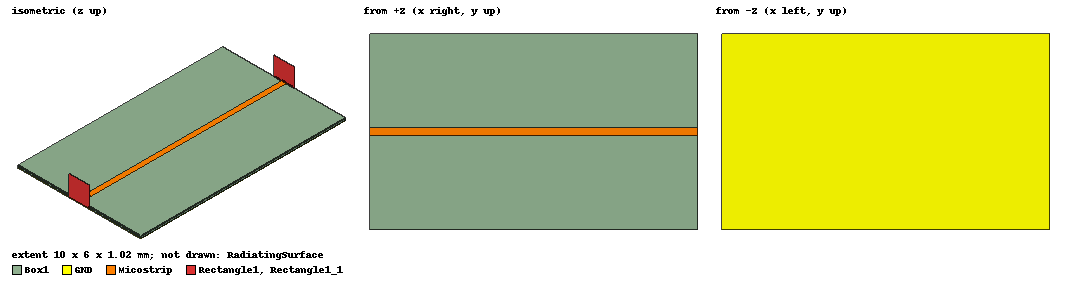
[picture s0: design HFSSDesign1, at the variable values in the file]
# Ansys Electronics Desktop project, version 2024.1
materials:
  vacuum: permittivity=1
  air: permittivity=1.0006 permeability=1.0000004
  Custom_ADM_Material: permittivity=3.3 dielectric_loss_tangent=0.003 delta_H_freq=10GHz
  copper: permeability=0.999991 conductivity=58000000
  pec: conductivity=1e+30

design HFSSDesign1 (HFSS, HFSS Modal Network, model units mm)
options: Allow_Material_Override Calculate_Lossy_Dielectrics
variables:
  track_width = 0.217994mm
  track_length = 10mm
  sub_thick = 100um
  copper_thick = 20um
  port_thick = 1mil
  port_width = 0.1mm
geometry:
  Box1 [Custom_ADM_Material] = box(corner=(-track_length/2, -3mm, 0mm), size=(track_length, 6mm, 0.1mm))
  GND [copper] = object_from(Box1.face(-z))
  Micostrip [copper] = rectangle(corner=(-track_length/2, -track_width/2, 0.1mm), x_size=track_length, y_size=track_width)
  RadiatingSurface [vacuum] = region(absolute_offset: +X=0mm, -X=0mm, +Y=2mm, -Y=2mm, +Z=2mm, -Z=2mm)
  Rectangle1 = rectangle(corner=(track_length/2, -5*port_width, 0), y_size=10*port_width, z_size=10*sub_thick)
  Rectangle1_1 = Rectangle1.duplicate_along_line(step=(-track_length, 0mm, 0mm), total=2)
  [Micostrip, GND].thicken(0.02mm)
  Rectangle2 [non-model] = rectangle(corner=(0mm, 3mm, -0.02mm), y_size=-6mm, z_size=1mm)
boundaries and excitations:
  Open1: Radiation Objects=RadiatingSurface
  1: Wave Port Objects=Rectangle1 WavePortType=Modal NumModes=1 Modes{Mode1{CharImp=Zpi RenormImp=50ohm}}
  2: Wave Port Objects=Rectangle1_1 WavePortType=Modal NumModes=1 Modes{Mode1{CharImp=Zpi RenormImp=50ohm}}
  reference conductors: GND
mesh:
  initial mesh: GlobalSurfApproximation{CurvedSurfaceApproxChoice=UseSlider SliderMeshSettings=6}
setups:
  Setup1: HfssDriven Frequency=15GHz MaxDeltaS=0.02 MaximumPasses=20 MinimumPasses=1 MinimumConvergedPasses=1 PercentRefinement=30 BasisOrder=1 PortAccuracy=2 DrivenSolverType="Direct Solver" VariableFlagsForDerivatives(1)
    sweep Sweep: 0GHz to 50GHz, 401 points; Type=Interpolating InterpTolerance=0.5 InterpMaxSolns=250 MinSolvedFreq=0.01GHz InterpUsePortImped=false InterpUsePropConst=false PassivityErrorTolerance=0.0001
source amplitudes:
  1:1: 1W 0deg
  2:1: 0W 0deg
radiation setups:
  3D: Infinite Sphere Theta=0deg..180deg step 2deg Phi=-180deg..180deg step 2deg
  Elevation: Infinite Sphere Theta=-180deg..180deg step 1deg Phi=0deg..90deg step 90deg
  Azimuth: Infinite Sphere Theta=90deg..90deg step 0deg Phi=-180deg..180deg step 1deg
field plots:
  Mag_Jsurf1: Jsurf over Micostrip.face(all 6) on Setup1 : LastAdaptive at Freq=15GHz Phase=0deg
  Vector_E1: E Field over a plane on Setup1 : LastAdaptive at Freq=15GHz Phase=0deg
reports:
  S Parameter Plot 1: dB(S(1,1)), dB(S(2,2)) vs Freq on Setup1 : Sweep [track_width=0.217994mm]; markers MY1 at y=-26.3734
  S Parameter Plot 2: dB(S(1,1)), dB(S(2,2)) vs Freq on Setup1 : Sweep [track_width=0.2185mm]; markers MY1 at y=-27.4034
  S Parameter Chart 1: S(1,1), S(2,2) on Setup1 : Sweep [Freq=all track_width=0.2185mm]
  S Parameter Plot 3: dB(S(2,1)), dB(S(1,2)) vs Freq on Setup1 : Sweep [track_width=0.2185mm]; markers m1 at 10GHz, MY1 at y=-0.548498
  Group Delay Plot 1: GroupDelay(2,1) vs Freq on Setup1 : Sweep [track_width=0.2185mm]
  S Parameter Table 1: dB(S(2,1)) vs Freq on Setup1 : Sweep [track_width=0.2185mm]
